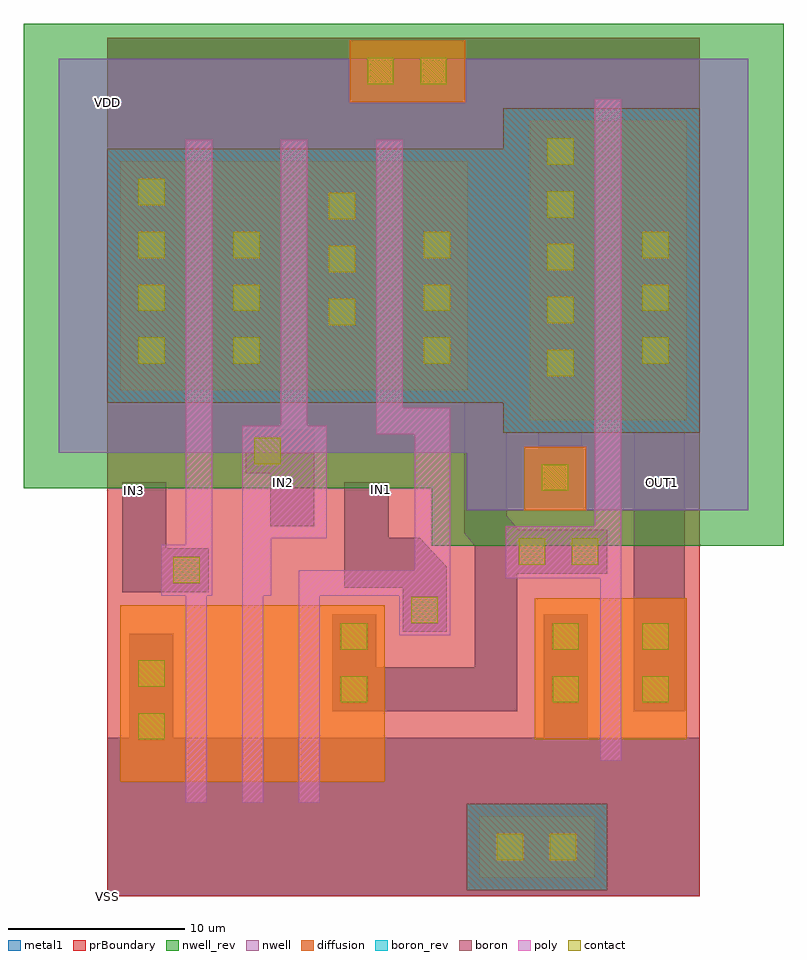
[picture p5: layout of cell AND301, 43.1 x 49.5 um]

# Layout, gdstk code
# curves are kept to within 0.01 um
import gdstk
lib = gdstk.Library(unit=1e-6, precision=1e-09)
def R(c, l, rs):  # rectangles x0, y0, x1, y1
    for r in rs: c.add(gdstk.rectangle(r[:2], r[2:], *l))
def A(c, l, x, y, w, h, nx, ny, dx, dy):  # array of equal rectangles
    R(c, l, [(x+i*dx, y+j*dy, x+i*dx+w, y+j*dy+h) for i in range(nx) for j in range(ny)])
def P(c, l, *ps):  # polygons
    for p in ps: c.add(gdstk.Polygon(p, *l))
nwell = (1, 0)
diffusion = (2, 0)
nwell_rev = (3, 0)
poly = (4, 0)
boron = (5, 0)
boron_rev = (6, 0)
contact = (7, 0)
metal1 = (8, 0)
prBoundary = (28, 0)

and301 = lib.new_cell('AND301')
P(and301, nwell, [(20.4,21.9),(20.4,25.15),(-2.75,25.15),(-2.75,47.5),(36.35,47.5),(36.35,21.9)])
R(and301, diffusion, [(21.1,1.05,27.65,4.55), (0.75,6.5,15.75,16.5), (24.25,8.9,32.85,16.9), (23.65,21.9,27.15,25.5), (23.95,27,32.85,44), (0.75,28.7,20.45,41.7), (13.75,45.05,20.3,48.55)])
P(and301, nwell_rev, [(18.4,19.9),(18.4,23.15),(-4.75,23.15),(-4.75,49.5),(38.35,49.5),(38.35,19.9)])
P(and301, poly, [(10.85,5.3),(10.85,18.5),(17.45,18.5),(17.45,26.2),(15.25,26.2),(15.25,42.9),(16.75,42.9),(16.75,27.7),(19.45,27.7),(19.45,14.8),(16.55,14.8),(16.55,17.05),(12.05,17.05),(12.05,5.3)],
  [(4.45,5.3),(4.45,17.05),(3.05,17.05),(3.05,19.95),(4.45,19.95),(4.45,42.9),(5.95,42.9),(5.95,17.05),(5.65,17.05),(5.65,5.3)],
  [(7.65,5.3),(7.65,26.7),(9.85,26.7),(9.85,42.9),(11.35,42.9),(11.35,26.7),(12.45,26.7),(12.45,20.3),(9.3,20.3),(9.3,17.05),(8.85,17.05),(8.85,5.3)],
  [(27.95,7.7),(27.95,18.05),(22.6,18.05),(22.6,21),(27.65,21),(27.65,45.2),(29.15,45.2),(29.15,7.7)])
R(and301, boron, [(20.4,0.35,28.35,5.25)])
P(and301, boron, [(22.45,26.3),(22.45,28),(0,28),(0,42.4),(22.45,42.4),(22.45,44.7),(33.6,44.7),(33.6,26.3)])
R(and301, boron_rev, [(20.4,0.35,28.35,5.25)])
P(and301, boron_rev, [(22.45,26.3),(22.45,28),(0,28),(0,42.4),(22.45,42.4),(22.45,44.7),(33.6,44.7),(33.6,26.3)])
A(and301, contact, 24.95, 29.5, 1.5, 1.5, 1, 5, 0, 3)
A(and301, contact, 1.75, 30.2, 1.5, 1.5, 1, 4, 0, 3)
A(and301, contact, 7.15, 30.2, 1.5, 1.5, 1, 3, 0, 3)
A(and301, contact, 17.95, 30.2, 1.5, 1.5, 1, 3, 0, 3)
A(and301, contact, 30.35, 30.2, 1.5, 1.5, 1, 3, 0, 3)
A(and301, contact, 12.55, 32.4, 1.5, 1.5, 1, 3, 0, 3)
R(and301, contact, [(22.1,2.05,23.6,3.55), (25.1,2.05,26.6,3.55), (1.75,8.9,3.25,10.4), (13.25,11,14.75,12.5), (25.25,11,26.75,12.5), (30.35,11,31.85,12.5), (1.75,11.9,3.25,13.4), (13.25,14,14.75,15.5), (25.25,14,26.75,15.5), (30.35,14,31.85,15.5), (17.25,15.5,18.75,17), (3.75,17.75,5.25,19.25), (23.35,18.8,24.85,20.3), (26.35,18.8,27.85,20.3), (24.65,23,26.15,24.5), (8.35,24.5,9.85,26), (14.75,46.05,16.25,47.55), (17.75,46.05,19.25,47.55)])
R(and301, metal1, [(0,0,33.6,9), (29.85,10.5,32.75,38.2), (0.85,21,3.35,23.5), (30.25,21,32.75,23.5), (0,39.7,33.6,48.7)])
P(and301, metal1, [(0.85,17.25),(0.85,23.5),(3.35,23.5),(3.35,19.75),(5.75,19.75),(5.75,17.25)],
  [(9.25,21),(9.25,24),(7.85,24),(7.85,26.5),(11.75,26.5),(11.75,21)],
  [(16.75,15),(16.75,17.5),(13.45,17.5),(13.45,23.5),(15.95,23.5),(15.95,20.35),(17.711,20.35),(19.25,18.699),(19.25,15)],
  [(0,0),(0,9),(1.25,9),(1.25,14.9),(3.75,14.9),(3.75,9),(24.75,9),(24.75,16),(27.25,16),(27.25,9),(33.6,9),(33.6,0)],
  [(24.15,22.5),(24.15,25),(24.45,25),(24.45,39.7),(14.55,39.7),(14.55,31.9),(12.05,31.9),(12.05,39.7),(3.8,39.7),(3.8,29.7),(1.25,29.7),(1.25,39.7),(0,39.7),(0,48.7),(33.6,48.7),(33.6,39.7),(26.95,39.7),(26.95,22.5)],
  [(12.75,10.5),(12.75,16),(15.25,16),(15.25,13),(20.85,13),(20.85,19.888),(20.25,20.6),(20.25,28),(6.65,28),(6.65,38.2),(9.15,38.2),(9.15,30.4),(17.45,30.4),(17.45,38.2),(19.95,38.2),(19.95,30.4),(22.65,30.4),(22.65,21.6),(23.322,20.8),(28.35,20.8),(28.35,18.3),(23.25,18.3),(23.25,10.5)])
R(and301, prBoundary, [(0,0,33.6,48.7)])
and301.add(gdstk.Label('VSS', (0.001,0.001), layer=8, texttype=7))
and301.add(gdstk.Label('VDD', (0.002,45), layer=8, texttype=7))
and301.add(gdstk.Label('IN1', (15.55,23.05), layer=8, texttype=7))
and301.add(gdstk.Label('IN3', (1.55,23), layer=8, texttype=7))
and301.add(gdstk.Label('IN2', (10,23.45), layer=8, texttype=7))
and301.add(gdstk.Label('OUT1', (31.5,23.5), layer=8, texttype=7))

lib.write_gds('AND301.gds')
